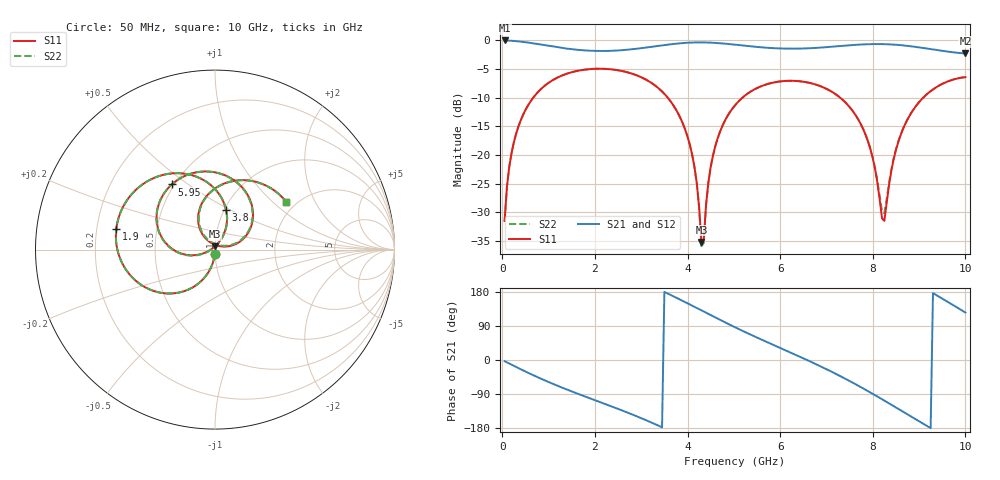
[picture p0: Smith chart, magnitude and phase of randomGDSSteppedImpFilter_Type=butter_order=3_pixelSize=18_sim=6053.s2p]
! freq	dB(S11)	phase(S11)	dB(S12)	phase(S12)
!  dB(S21)	phase(S21)	dB(S22)	phase(S22)
!S-par simulation data
#  GHz  S  DB  R 50
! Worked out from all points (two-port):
!   200 points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, 50 MHz to 10 GHz, reference 50 ohm
!   highest |S21| = -0.01 dB at 50 MHz (marker M1); lowest = -2.3 dB at 10 GHz (marker M2)
!   |S21| within 3 dB of the highest: start of sweep to end of sweep
!   lowest |S11| = -35.2 dB at 4.3 GHz (marker M3), VSWR 1.04, Z = 49.8 + j1.72 ohm
!   |S11| at or under -10 dB: start of sweep to 669 MHz; 3.572 GHz to 5.187 GHz (1.615 GHz wide, 36.9 % of centre); 7.296 GHz to 9.091 GHz (1.795 GHz wide, 21.9 % of centre)
!   |S22| runs from -35.9 to -4.9 dB; largest |S21 - S12| = 0
!   S11 on the Smith chart (normalised r, x): 50 MHz: 1.00, -0.05; 1.9 GHz: 0.28, +0.10; 3.8 GHz: 1.02, +0.47; 5.95 GHz: 0.48, +0.43; 10 GHz: 1.78, +1.22
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0.05  -31.56 -93.3  -0.01 -3.1  -0.01 -3.1  -31.56 -93.2
0.2  -19.66 -102.9  -0.07 -12.4  -0.07 -12.4  -19.66 -102.9
0.5  -12.16 -120.8  -0.31 -30.4  -0.31 -30.4  -12.16 -120.8
1.05  -7.13 -151.2  -1.01 -60.8  -1.01 -60.8  -7.13 -151.2
1.75  -5.14 174.9  -1.72 -94.6  -1.72 -94.6  -5.14 174.9
1.9  -5.01 168.1  -1.80 -101.5  -1.80 -101.5  -5.01 168.1
2.75  -5.68 129.0  -1.59 -141.0  -1.59 -141.0  -5.68 129.0
3.4  -8.54 96.1  -0.92 -174.8  -0.92 -174.8  -8.55 95.9
3.8  -12.80 74.4  -0.53 161.9  -0.53 161.9  -12.81 74.0
4.15  -22.12 59.7  -0.36 140.3  -0.36 140.3  -22.15 58.5
4.3  -35.20 95.2  -0.34 130.9  -0.34 130.9  -35.95 91.8
4.55  -20.07 -163.1  -0.41 115.3  -0.41 115.3  -20.10 -162.0
5.05  -11.10 172.1  -0.76 85.0  -0.76 85.0  -11.10 172.6
5.95  -7.22 123.6  -1.39 34.6  -1.39 34.6  -7.22 123.9
6.7  -7.55 83.2  -1.34 -6.8  -1.34 -6.8  -7.55 83.6
7.75  -14.76 22.9  -0.71 -72.1  -0.71 -72.1  -14.75 24.3
8  -20.58 13.5  -0.64 -89.3  -0.64 -89.3  -20.49 16.1
8.2  -31.10 48.7  -0.64 -103.5  -0.64 -103.5  -29.91 52.6
8.35  -25.34 125.5  -0.68 -114.4  -0.68 -114.4  -24.94 121.4
8.65  -15.54 123.1  -0.86 -136.2  -0.86 -136.2  -15.49 121.6
9.15  -9.54 91.8  -1.40 -172.6  -1.40 -172.6  -9.52 91.1
10  -6.42 33.8  -2.28 125.2  -2.28 125.2  -6.41 33.8
